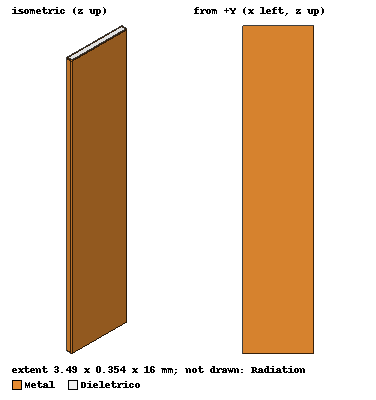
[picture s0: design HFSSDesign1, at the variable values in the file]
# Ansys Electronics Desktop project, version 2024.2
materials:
  vacuum: permittivity=1
  copper: permeability=0.999991 conductivity=58000000
  air: permittivity=1.0006 permeability=1.0000004
  Arlon DiClad 880 (tm): permittivity=2.2 dielectric_loss_tangent=0.0009
  Al2_O3_ceramic: permittivity=9.8

design HFSSDesign1 (HFSS, HFSS Modal Network, model units mm)
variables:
  a = 3.39mm
  b = 0.254mm
  L = 16mm
  th = 0.05mm
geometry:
  Box1 = box(corner=(-a/2, -b/2, 0mm), size=(a, b, L*5))
  Metal [copper] = box(corner=(-a/2 -th, -b/2 -th, 0mm), size=(a+ 2*th, b+2*th, L))
  Metal.subtract(Box1)
  Dieletrico [Al2_O3_ceramic] = box(corner=(-a/2, -b/2, 0mm), size=(a, b, L))
  Radiation [air] = box(corner=(-a/2 -2.5mm, -b/2 -2.5mm, 0mm), size=(a+5mm, b+5mm, L))
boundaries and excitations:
  Rad1: Radiation Objects=Radiation
  1: Wave Port Faces=Dieletrico.face(-z) WavePortType=Modal NumModes=4 Modes{Mode1{IntLine{(0, -0.127, 0) -> (0, 0.127, 0)} CharImp=Zpi} Mode2{CharImp=Zpi} Mode3{CharImp=Zpi} Mode4{CharImp=Zpi}}
  2: Wave Port Faces=Dieletrico.face(+z) WavePortType=Modal NumModes=4 Modes{Mode1{IntLine{(158.88639mm, -117.64706mm, 16000mm) -> (158.88639mm, 117.64706mm, 16000mm)} CharImp=Zpi} Mode2{CharImp=Zpi} Mode3{CharImp=Zpi} Mode4{CharImp=Zpi}}
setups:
  Setup1: HfssDriven Frequency=44GHz MaxDeltaS=0.02 MaximumPasses=20 MinimumPasses=1 MinimumConvergedPasses=1 PercentRefinement=30 BasisOrder=1 PortAccuracy=2 DrivenSolverType="Direct Solver"
    sweep Sweep: 10GHz to 50GHz step 0.5GHz; Type=Discrete SaveFields
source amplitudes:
  1:1: 1W 0deg
  1:2, 1:3, 1:4, 2:1..2:4: 0W 0deg
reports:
  Gamma Plot 1: im(Gamma(1:1)), im(Gamma(1:2)), im(Gamma(1:3)) vs Freq on Setup1 : Sweep [L=all]
  Gamma Plot 2: re(Gamma(1:1)), re(Gamma(1:2)), re(Gamma(1:3)) vs Freq on Setup1 : Sweep [L=all]; markers m1 at 14.5GHz, m2 at 28.5GHz, m3 at 42GHz
  S Parameter Plot 1: dB(S(1:1,2:1)), dB(S(1:2,2:2)), dB(S(1:3,2:3)) vs Freq on Setup1 : Sweep [L=all]; markers m1 at 14.5GHz, m2 at 28.5GHz, m3 at 42.5GHz
